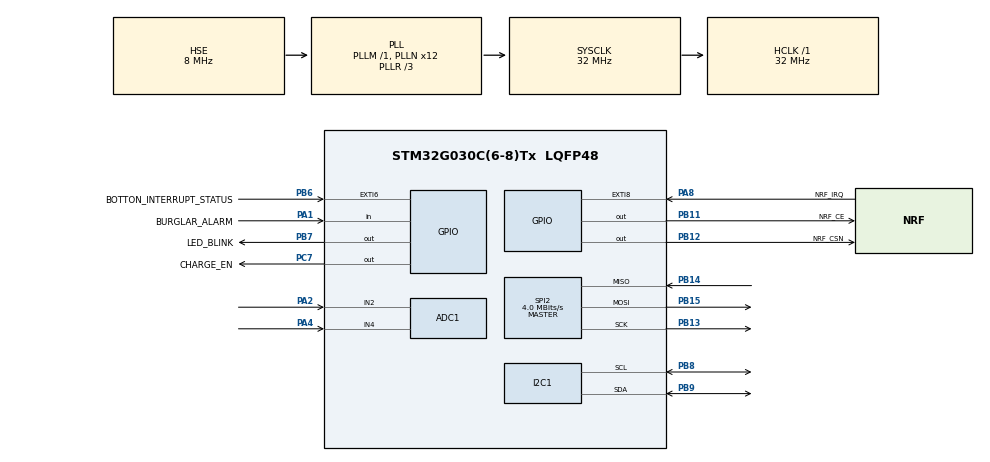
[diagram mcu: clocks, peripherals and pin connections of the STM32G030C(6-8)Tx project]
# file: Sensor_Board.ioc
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ADC1.Channel-5\#ChannelRegularConversion=ADC_CHANNEL_2
ADC1.Channel-6\#ChannelRegularConversion=ADC_CHANNEL_4
ADC1.ContinuousConvMode=DISABLE
ADC1.EOCSelection=ADC_EOC_SINGLE_CONV
ADC1.NbrOfConversion=2
ADC1.NbrOfConversionFlag=1
ADC1.Rank-5\#ChannelRegularConversion=1
ADC1.Rank-6\#ChannelRegularConversion=2
ADC1.SamplingTime-5\#ChannelRegularConversion=ADC_SAMPLINGTIME_COMMON_1
ADC1.SamplingTime-6\#ChannelRegularConversion=ADC_SAMPLINGTIME_COMMON_2
ADC1.SamplingTimeCommon1=ADC_SAMPLETIME_160CYCLES_5
ADC1.SamplingTimeCommon2=ADC_SAMPLETIME_160CYCLES_5
ADC1.SelectedChannel=ADC_CHANNEL_2|ADC_CHANNEL_4
ADC1.Sequencer=FULLY_CONFIGURABLE
ADC1.master=1
I2C1.I2C_Coeff_DF=2
I2C1.I2C_Rise_Time=600
I2C1.Timing=0xA0200B0D
Mcu.Family=STM32G0
Mcu.Name=STM32G030C(6-8)Tx
Mcu.Package=LQFP48
NVIC.EXTI4_15_IRQn=true\:0\:0\:false\:false\:true\:true\:true\:true
NVIC.TIM3_IRQn=true\:0\:0\:false\:false\:true\:true\:true\:true
PA1.GPIO_Label=BURGLAR_ALARM 
PA1.Signal=GPIO_Input
PA13.Mode=Serial_Wire
PA13.Signal=SYS_SWDIO
PA14-BOOT0.Mode=Serial_Wire
PA14-BOOT0.Signal=SYS_SWCLK
PA2.Mode=IN2
PA2.Signal=ADC1_IN2
PA4.Mode=IN4
PA4.Signal=ADC1_IN4
PA8.GPIO_Label=NRF_IRQ
PA8.GPIO_ModeDefaultEXTI=GPIO_MODE_IT_FALLING
PA8.Signal=GPXTI8
PB11.GPIO_Label=NRF_CE
PB11.GPIO_Speed=GPIO_SPEED_FREQ_LOW
PB11.Signal=GPIO_Output
PB12.GPIO_Label=NRF_CSN
PB12.GPIO_Speed=GPIO_SPEED_FREQ_LOW
PB12.PinState=GPIO_PIN_SET
PB12.Signal=GPIO_Output
PB13.Mode=Full_Duplex_Master
PB13.Signal=SPI2_SCK
PB14.Mode=Full_Duplex_Master
PB14.Signal=SPI2_MISO
PB15.Mode=Full_Duplex_Master
PB15.Signal=SPI2_MOSI
PB6.GPIO_Label=BOTTON_INTERRUPT_STATUS
PB6.Signal=GPXTI6
PB7.GPIO_Label=LED_BLINK
PB7.Signal=GPIO_Output
PB8.Mode=I2C
PB8.Signal=I2C1_SCL
PB9.Mode=I2C
PB9.Signal=I2C1_SDA
PC7.GPIO_Label=CHARGE_EN
PC7.Signal=GPIO_Output
PF0-OSC_IN\ (PF0).Mode=HSE-External-Oscillator
PF0-OSC_IN\ (PF0).Signal=RCC_OSC_IN
PF1-OSC_OUT\ (PF1).Mode=HSE-External-Oscillator
PF1-OSC_OUT\ (PF1).Signal=RCC_OSC_OUT
ProjectManager.HeapSize=0x200
ProjectManager.StackSize=0x400
ProjectManager.TargetToolchain=STM32CubeIDE
RCC.ADCFreq_Value=32000000
RCC.AHBFreq_Value=32000000
RCC.CortexFreq_Value=32000000
RCC.EXTERNAL_CLOCK_VALUE=12288000
RCC.HCLKFreq_Value=32000000
RCC.HSE_VALUE=8000000
RCC.HSI_VALUE=16000000
RCC.LSE_VALUE=32768
RCC.PLLN=12
RCC.PLLR=RCC_PLLR_DIV3
RCC.PLLSourceVirtual=RCC_PLLSOURCE_HSE
RCC.SYSCLKFreq_VALUE=32000000
RCC.SYSCLKSource=RCC_SYSCLKSOURCE_PLLCLK
RCC.VCOOutputFreq_Value=96000000
SPI2.BaudRatePrescaler=SPI_BAUDRATEPRESCALER_8
SPI2.CalculateBaudRate=4.0 MBits/s
SPI2.Direction=SPI_DIRECTION_2LINES
SPI2.Mode=SPI_MODE_MASTER
SPI2.VirtualType=VM_MASTER
TIM17.Prescaler=31999
TIM3.Period=999
TIM3.Prescaler=31999
VP_TIM17_VS_ClockSourceINT.Mode=Enable_Timer
VP_TIM3_VS_ClockSourceINT.Mode=Internal
board=custom

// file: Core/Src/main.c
/* USER CODE BEGIN Header */
/**
 ******************************************************************************
 * @file           : main.c
 * @brief          : Main program body for the Sensor Board.
 * @author         : Mohammadali Abbasi <m.elec76a@gmail.com>
 * @date           : 2026
 * @license        : Apache-2.0
 ******************************************************************************
 * @attention
 *
 * Copyright (c) 2026 STMicroelectronics.
 * All rights reserved.
 *
 * This software is licensed under terms that can be found in the LICENSE file
 * in the root directory of this software component.
 * If no LICENSE file comes with this software, it is provided AS-IS.
 *
 ******************************************************************************
 */
/* USER CODE END Header */
#include "main.h"
#include "adc.h"
#include "i2c.h"
#include "spi.h"
#include "tim.h"
#include "gpio.h"

/* USER CODE BEGIN Includes */
#include "app_config.h"
#include "app_types.h"
#include "app_globals.h"
#include "app_delay.h"
#include "app_i2c.h"
#include "app_nrf.h"
#include "app_button.h"
#include "app_sensors.h"
#include "nrf24.h"
#include "string.h"
#include <stdbool.h>
/* USER CODE END Includes */

void SystemClock_Config(void);

int main(void)
{

  /* USER CODE BEGIN 1 */

	/*
	 * Node Identification:
	 * Each sensor board in a multi-node setup must have a unique ID.
	 * This ID (sensor_num) is transmitted in the payload to allow the
	 * Main Board to distinguish between data coming from different
	 * physical sensors in the same hall.
	 *
	 * Future: Replace this hardcoded value with a dynamic
	 * assignment method (e.g., configured via the long-press button
	 * or stored in non-volatile memory).
	 */
	txData.sensor_num = 1;

  /* USER CODE END 1 */

  /* MCU Configuration--------------------------------------------------------*/

  /* Reset of all peripherals, Initializes the Flash interface and the Systick. */
  HAL_Init();

  /* Configure the system clock */
  SystemClock_Config();

  /* Initialize all configured peripherals */
  MX_GPIO_Init();
  MX_SPI2_Init();
  MX_TIM3_Init();
  MX_I2C1_Init();
  MX_TIM17_Init();
  MX_ADC1_Init();
  /* USER CODE BEGIN 2 */
    /*>>>>>>>>>>>>>>>>>>>>>>>>>>>>> Init NRF24L01+ <<<<<<<<<<<<<<<<<<<<<<<<<<<<<*/
    HAL_Delay(NRF_POWER_UP_DELAY_MS);

    (void)nRF24_Init();
    nRF24_SetPowerMode(nRF24_PWR_UP);
    HAL_Delay(NRF_SETTLE_DELAY_MS);
    apply_mode(current_mode);
    nRF24_SetDataRate(nRF24_DR_250kbps);
    nRF24_SetTXPower(nRF24_TXPWR_0dBm);
    nRF24_SetCRCScheme(nRF24_CRC_2byte);
    nRF24_SetAddrWidth(5U);
    nRF24_SetAutoRetr(nRF24_ARD_1000us, 5U);
    nRF24_SetRXPipe(0U, nRF24_AA_ON, (uint8_t)sizeof(SensorData_t));
    nRF24_SetOperationalMode(nRF24_MODE_TX);
    HAL_Delay(NRF_READY_DELAY_MS);
    /*>>>>>>>>>>>>>>>>>>>>>>>>>>>>> Init NRF24L01+ <<<<<<<<<<<<<<<<<<<<<<<<<<<<<*/
  /* USER CODE END 2 */

  /* Infinite loop */
  /* USER CODE BEGIN WHILE */
    while (1)
    {
    	(void)HAL_GPIO_WritePin(CHARGE_EN, GPIO_PIN_SET);

        /* Sample all on-board sensors. */
        Sensors_ReadAdc();
        Sensors_ReadPir();

        /* Read SHT40 and pack the values into the TX payload. */
        sensor_result = Read_SHT40(&temperature, &humidity);
        if (sensor_result == 0U)
        {
            txData.Temperature = (uint16_t)(temperature * 10.0f);
            txData.humidity    = (uint16_t)(humidity    * 10.0f);
        }
        else
        {
            txData.Temperature = 0U;
            txData.humidity    = 0U;
        }

        /* Transmit the payload. */
        nRF24_TransmitPacket((uint8_t *)&txData, (uint8_t)sizeof(SensorData_t));

        /* Blink the status LED "current_mode" times. */
        Sensors_BlinkModeLed();

        HAL_Delay(TX_PERIOD_MS);

    /* USER CODE END WHILE */

    }
}

void SystemClock_Config(void)
{
  RCC_OscInitTypeDef RCC_OscInitStruct = {0};
  RCC_ClkInitTypeDef RCC_ClkInitStruct = {0};

  /** Configure the main internal regulator output voltage
  */
  HAL_PWREx_ControlVoltageScaling(PWR_REGULATOR_VOLTAGE_SCALE1);

  /** Initializes the RCC Oscillators according to the specified parameters
  * in the RCC_OscInitTypeDef structure.
  */
  RCC_OscInitStruct.OscillatorType = RCC_OSCILLATORTYPE_HSE;
  RCC_OscInitStruct.HSEState = RCC_HSE_ON;
  RCC_OscInitStruct.PLL.PLLState = RCC_PLL_ON;
  RCC_OscInitStruct.PLL.PLLSource = RCC_PLLSOURCE_HSE;
  RCC_OscInitStruct.PLL.PLLM = RCC_PLLM_DIV1;
  RCC_OscInitStruct.PLL.PLLN = 12;
  RCC_OscInitStruct.PLL.PLLP = RCC_PLLP_DIV2;
  RCC_OscInitStruct.PLL.PLLR = RCC_PLLR_DIV3;
  if (HAL_RCC_OscConfig(&RCC_OscInitStruct) != HAL_OK)
  {
    Error_Handler();
  }

  /** Initializes the CPU, AHB and APB buses clocks
  */
  RCC_ClkInitStruct.ClockType = RCC_CLOCKTYPE_HCLK|RCC_CLOCKTYPE_SYSCLK
                              |RCC_CLOCKTYPE_PCLK1;
  RCC_ClkInitStruct.SYSCLKSource = RCC_SYSCLKSOURCE_PLLCLK;
  RCC_ClkInitStruct.AHBCLKDivider = RCC_SYSCLK_DIV1;
  RCC_ClkInitStruct.APB1CLKDivider = RCC_HCLK_DIV1;

  if (HAL_RCC_ClockConfig(&RCC_ClkInitStruct, FLASH_LATENCY_1) != HAL_OK)
  {
    Error_Handler();
  }
}

void Error_Handler(void)
{
  /* USER CODE BEGIN Error_Handler_Debug */
    __disable_irq();
    while (1)
    {
        /* Stay here until reset. */
    }
  /* USER CODE END Error_Handler_Debug */
}
#ifdef USE_FULL_ASSERT
/**
  * @brief  Reports the name of the source file and the source line number
  *         where the assert_param error has occurred.
  * @param  file: pointer to the source file name
  * @param  line: assert_param error line source number
  * @retval None
  */
void assert_failed(uint8_t *file, uint32_t line)
{
  /* USER CODE BEGIN 6 */
    (void)file;
    (void)line;
  /* USER CODE END 6 */
}
#endif /* USE_FULL_ASSERT */
